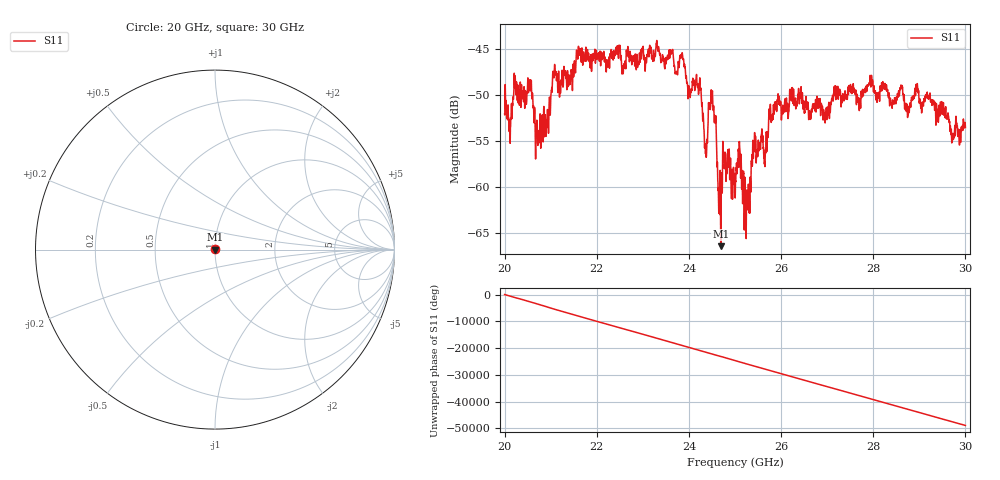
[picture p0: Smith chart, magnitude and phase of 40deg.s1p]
#  HZ  S  RI  R  50.00
! Rohde & Schwarz ZVA40 4Ports - Version 3.90 - 1145.1110k42 SN: 100403
! Date: 2023-10-03 10:41:15
! Measurement: S12
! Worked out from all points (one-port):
!   5001 points, 20 GHz to 30 GHz, reference 50 ohm
!   lowest |S11| = -66.4 dB at 24.69 GHz (marker M1), VSWR 1.00, Z = 50 - j0.0463 ohm
!   |S11| at or under -10 dB: start of sweep to end of sweep
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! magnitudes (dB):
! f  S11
! 20 GHz  -52.1
! 20.54 GHz  -48.5
! 20.71 GHz  -54.5
! 20.91 GHz  -53.3
! 21.09 GHz  -46.7
! 21.25 GHz  -47.4
! 21.6 GHz  -44.8
! 22.5 GHz  -45.0
! 23.75 GHz  -47.8
! 24.21 GHz  -49.9
! 24.37 GHz  -56.1
! 24.5 GHz  -50.8
! 24.55 GHz  -53.0
! 24.65 GHz  -62.1
! 24.69 GHz  -66.4
! 24.78 GHz  -57.2
! 25 GHz  -59.8
! 25.09 GHz  -55.4
! 25.27 GHz  -60.6
! 25.4 GHz  -55.5
! 26.25 GHz  -49.7
! 26.95 GHz  -52.8
! 27.5 GHz  -49.1
! 28.6 GHz  -49.0
! 28.75 GHz  -52.1
! 28.94 GHz  -49.6
! 29.71 GHz  -54.5
! 30 GHz  -53.5
